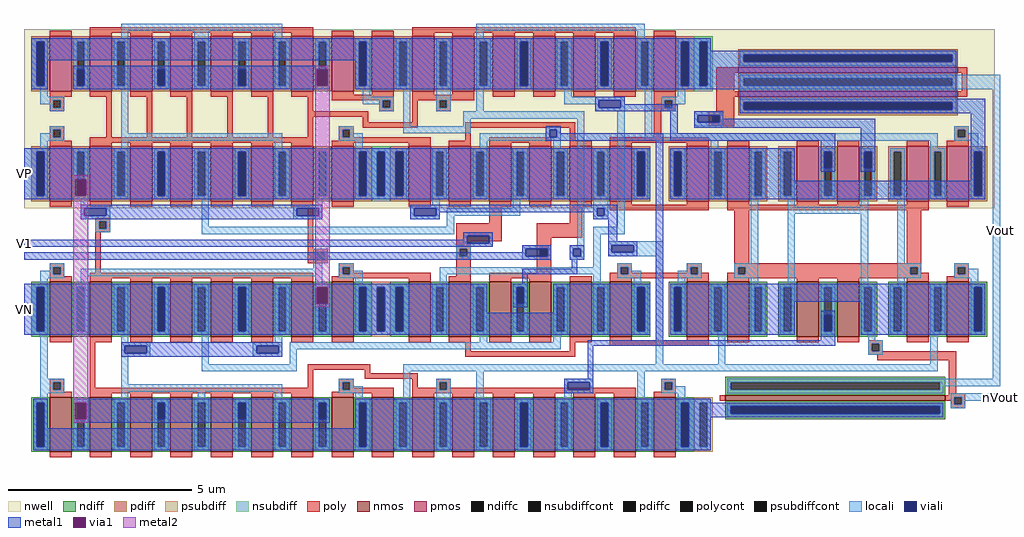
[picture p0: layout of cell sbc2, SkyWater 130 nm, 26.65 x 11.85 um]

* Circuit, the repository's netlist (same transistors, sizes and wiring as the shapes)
* SPICE3 file created from sbc2.ext - technology: sky130A


* Top level circuit sbc2

X0 a_2280_320# a_3680_n450# nVout VN sky130_fd_pr__nfet_01v8 ad=1.5e+12p pd=8e+06u as=1.5e+12p ps=8e+06u w=1.5e+06u l=600000u
X1 a_2060_n420# V1 a_760_n420# VN sky130_fd_pr__nfet_01v8 ad=1.5e+12p pd=8e+06u as=2.25e+12p ps=1.2e+07u w=1.5e+06u l=600000u
X2 a_1860_920# VP VP VP sky130_fd_pr__pfet_01v8 ad=3.75e+12p pd=2e+07u as=1.575e+13p ps=7.8e+07u w=1.5e+06u l=600000u
X3 a_320_320# a_100_n420# VP VP sky130_fd_pr__pfet_01v8 ad=3.75e+12p pd=2e+07u as=0p ps=0u w=1.5e+06u l=600000u
X4 VP VP a_100_320# VP sky130_fd_pr__pfet_01v8 ad=0p pd=0u as=1.5e+12p ps=8e+06u w=1.5e+06u l=600000u
X5 a_3680_n450# a_3680_n450# a_1860_920# VP sky130_fd_pr__pfet_01v8 ad=1.5e+12p pd=8e+06u as=0p ps=0u w=1.5e+06u l=600000u
X6 VP VP a_1860_n1050# VP sky130_fd_pr__pfet_01v8 ad=0p pd=0u as=1.5e+12p ps=8e+06u w=1.5e+06u l=600000u
X7 nVout a_3680_n450# a_2060_n420# VP sky130_fd_pr__pfet_01v8 ad=1.5e+12p pd=8e+06u as=1.5e+12p ps=8e+06u w=1.5e+06u l=600000u
X8 VP a_100_n420# a_2060_n420# VP sky130_fd_pr__pfet_01v8 ad=0p pd=0u as=0p ps=0u w=1.5e+06u l=600000u
X9 VN a_100_320# a_320_n1050# VN sky130_fd_pr__nfet_01v8 ad=1.275e+13p pd=6.5e+07u as=3.75e+12p ps=2e+07u w=1.5e+06u l=600000u
X10 a_320_n1050# a_100_320# VP VN sky130_fd_pr__nfet_01v8 ad=0p pd=0u as=4.5e+12p ps=2.4e+07u w=1.5e+06u l=600000u
X11 a_320_n1050# a_100_320# VP VN sky130_fd_pr__nfet_01v8 ad=0p pd=0u as=0p ps=0u w=1.5e+06u l=600000u
X12 VN a_100_320# a_1860_n1050# VN sky130_fd_pr__nfet_01v8 ad=0p pd=0u as=3.75e+12p ps=2e+07u w=1.5e+06u l=600000u
X13 nVout a_3680_n450# a_2280_320# VN sky130_fd_pr__nfet_01v8 ad=0p pd=0u as=0p ps=0u w=1.5e+06u l=600000u
X14 VN VN VP VN sky130_fd_pr__nfet_01v8 ad=0p pd=0u as=0p ps=0u w=1.5e+06u l=600000u
X15 a_320_320# a_100_n420# VN VP sky130_fd_pr__pfet_01v8 ad=0p pd=0u as=4.5e+12p ps=2.4e+07u w=1.5e+06u l=600000u
X16 VP a_100_n420# a_320_320# VP sky130_fd_pr__pfet_01v8 ad=0p pd=0u as=0p ps=0u w=1.5e+06u l=600000u
X17 a_100_n420# a_100_320# a_320_n1050# VN sky130_fd_pr__nfet_01v8 ad=1.5e+12p pd=8e+06u as=0p ps=0u w=1.5e+06u l=600000u
X18 Vout nVout VN VN sky130_fd_pr__nfet_01v8 ad=3e+12p pd=1.3e+07u as=0p ps=0u w=6e+06u l=150000u
X19 a_1860_n1050# a_3680_n450# a_3680_n450# VN sky130_fd_pr__nfet_01v8 ad=0p pd=0u as=1.5e+12p ps=8e+06u w=1.5e+06u l=600000u
X20 a_1860_n1050# VP VP VP sky130_fd_pr__pfet_01v8 ad=0p pd=0u as=0p ps=0u w=1.5e+06u l=600000u
X21 a_2060_n420# VN VN VN sky130_fd_pr__nfet_01v8 ad=0p pd=0u as=0p ps=0u w=1.5e+06u l=600000u
X22 a_320_320# a_100_n420# VN VP sky130_fd_pr__pfet_01v8 ad=0p pd=0u as=0p ps=0u w=1.5e+06u l=600000u
X23 VP VP VN VP sky130_fd_pr__pfet_01v8 ad=0p pd=0u as=0p ps=0u w=1.5e+06u l=600000u
X24 Vout nVout VP VP sky130_fd_pr__pfet_01v8 ad=3e+12p pd=1.3e+07u as=0p ps=0u w=6e+06u l=150000u
X25 a_1860_920# VP VP VP sky130_fd_pr__pfet_01v8 ad=0p pd=0u as=0p ps=0u w=1.5e+06u l=600000u
X26 a_760_n420# a_100_320# VN VN sky130_fd_pr__nfet_01v8 ad=0p pd=0u as=0p ps=0u w=1.5e+06u l=600000u
X27 a_320_n1050# a_100_320# VN VN sky130_fd_pr__nfet_01v8 ad=0p pd=0u as=0p ps=0u w=1.5e+06u l=600000u
X28 VP a_100_320# a_320_n1050# VN sky130_fd_pr__nfet_01v8 ad=0p pd=0u as=0p ps=0u w=1.5e+06u l=600000u
X29 a_100_320# a_100_n420# a_320_320# VP sky130_fd_pr__pfet_01v8 ad=0p pd=0u as=0p ps=0u w=1.5e+06u l=600000u
X30 a_2060_n420# a_3680_n450# nVout VP sky130_fd_pr__pfet_01v8 ad=0p pd=0u as=0p ps=0u w=1.5e+06u l=600000u
X31 VP a_100_320# a_320_n1050# VN sky130_fd_pr__nfet_01v8 ad=0p pd=0u as=0p ps=0u w=1.5e+06u l=600000u
X32 a_1860_920# a_100_n420# a_100_n420# VP sky130_fd_pr__pfet_01v8 ad=0p pd=0u as=7.5e+11p ps=4e+06u w=1.5e+06u l=600000u
X33 VP VP a_1860_920# VP sky130_fd_pr__pfet_01v8 ad=0p pd=0u as=0p ps=0u w=1.5e+06u l=600000u
X34 VN VN a_100_n420# VN sky130_fd_pr__nfet_01v8 ad=0p pd=0u as=0p ps=0u w=1.5e+06u l=600000u
X35 a_2060_n420# a_100_n420# VP VP sky130_fd_pr__pfet_01v8 ad=0p pd=0u as=0p ps=0u w=1.5e+06u l=600000u
X36 a_100_320# VP VP VP sky130_fd_pr__pfet_01v8 ad=0p pd=0u as=0p ps=0u w=1.5e+06u l=600000u
X37 VN VN a_1860_n1050# VN sky130_fd_pr__nfet_01v8 ad=0p pd=0u as=0p ps=0u w=1.5e+06u l=600000u
X38 VN a_100_n420# a_320_320# VP sky130_fd_pr__pfet_01v8 ad=0p pd=0u as=0p ps=0u w=1.5e+06u l=600000u
X39 VP VP a_1860_920# VP sky130_fd_pr__pfet_01v8 ad=0p pd=0u as=0p ps=0u w=1.5e+06u l=600000u
X40 a_320_320# a_100_n420# a_100_320# VP sky130_fd_pr__pfet_01v8 ad=0p pd=0u as=0p ps=0u w=1.5e+06u l=600000u
X41 VN a_100_320# a_760_n420# VN sky130_fd_pr__nfet_01v8 ad=0p pd=0u as=0p ps=0u w=1.5e+06u l=600000u
X42 a_1860_n1050# VN VN VN sky130_fd_pr__nfet_01v8 ad=0p pd=0u as=0p ps=0u w=1.5e+06u l=600000u
X43 a_320_n1050# a_100_320# VP VN sky130_fd_pr__nfet_01v8 ad=0p pd=0u as=0p ps=0u w=1.5e+06u l=600000u
X44 VP nVout Vout VP sky130_fd_pr__pfet_01v8 ad=0p pd=0u as=0p ps=0u w=6e+06u l=150000u
X45 VN a_100_n420# a_320_320# VP sky130_fd_pr__pfet_01v8 ad=0p pd=0u as=0p ps=0u w=1.5e+06u l=600000u
X46 VN VN a_2060_n420# VN sky130_fd_pr__nfet_01v8 ad=0p pd=0u as=0p ps=0u w=1.5e+06u l=600000u
X47 a_760_320# V1 a_2280_320# VP sky130_fd_pr__pfet_01v8 ad=1.5e+12p pd=8e+06u as=1.5e+12p ps=8e+06u w=1.5e+06u l=600000u
X48 a_1860_n1050# V2 a_2280_320# VP sky130_fd_pr__pfet_01v8 ad=0p pd=0u as=0p ps=0u w=1.5e+06u l=600000u
X49 VN VP VP VP sky130_fd_pr__pfet_01v8 ad=0p pd=0u as=0p ps=0u w=1.5e+06u l=600000u
X50 VP a_100_n420# a_1860_920# VP sky130_fd_pr__pfet_01v8 ad=0p pd=0u as=0p ps=0u w=1.5e+06u l=600000u
X51 a_1860_920# a_3680_n450# a_3680_n450# VP sky130_fd_pr__pfet_01v8 ad=0p pd=0u as=0p ps=0u w=1.5e+06u l=600000u
X52 a_3680_n450# a_3680_n450# a_1860_n1050# VN sky130_fd_pr__nfet_01v8 ad=0p pd=0u as=0p ps=0u w=1.5e+06u l=600000u
X53 a_320_320# a_100_n420# VN VP sky130_fd_pr__pfet_01v8 ad=0p pd=0u as=0p ps=0u w=1.5e+06u l=600000u
X54 a_1860_920# a_100_n420# VP VP sky130_fd_pr__pfet_01v8 ad=0p pd=0u as=0p ps=0u w=1.5e+06u l=600000u
X55 VP a_100_n420# a_760_320# VP sky130_fd_pr__pfet_01v8 ad=0p pd=0u as=0p ps=0u w=1.5e+06u l=600000u
X56 VN VN a_1860_n1050# VN sky130_fd_pr__nfet_01v8 ad=0p pd=0u as=0p ps=0u w=1.5e+06u l=600000u
X57 a_2280_320# V2 a_1860_n1050# VP sky130_fd_pr__pfet_01v8 ad=0p pd=0u as=0p ps=0u w=1.5e+06u l=600000u
X58 a_760_n420# V1 a_2060_n420# VN sky130_fd_pr__nfet_01v8 ad=0p pd=0u as=0p ps=0u w=1.5e+06u l=600000u
X59 a_100_n420# a_100_n420# a_1860_920# VP sky130_fd_pr__pfet_01v8 ad=0p pd=0u as=0p ps=0u w=1.5e+06u l=600000u
X60 a_2280_320# V1 a_760_320# VP sky130_fd_pr__pfet_01v8 ad=0p pd=0u as=0p ps=0u w=1.5e+06u l=600000u
X61 a_100_320# a_100_320# a_1860_n1050# VN sky130_fd_pr__nfet_01v8 ad=7.5e+11p pd=4e+06u as=0p ps=0u w=1.5e+06u l=600000u
X62 VN a_100_320# a_2280_320# VN sky130_fd_pr__nfet_01v8 ad=0p pd=0u as=0p ps=0u w=1.5e+06u l=600000u
X63 a_760_n420# V2 a_1860_920# VN sky130_fd_pr__nfet_01v8 ad=0p pd=0u as=7.5e+11p ps=4e+06u w=1.5e+06u l=600000u
X64 a_100_n420# VN VN VN sky130_fd_pr__nfet_01v8 ad=0p pd=0u as=0p ps=0u w=1.5e+06u l=600000u
X65 VN a_100_n420# a_320_320# VP sky130_fd_pr__pfet_01v8 ad=0p pd=0u as=0p ps=0u w=1.5e+06u l=600000u
X66 a_1860_920# V2 a_760_n420# VN sky130_fd_pr__nfet_01v8 ad=0p pd=0u as=0p ps=0u w=1.5e+06u l=600000u
X67 VP a_100_320# a_320_n1050# VN sky130_fd_pr__nfet_01v8 ad=0p pd=0u as=0p ps=0u w=1.5e+06u l=600000u
X68 a_1860_n1050# a_100_320# a_100_320# VN sky130_fd_pr__nfet_01v8 ad=0p pd=0u as=0p ps=0u w=1.5e+06u l=600000u
X69 a_1860_n1050# a_100_320# VN VN sky130_fd_pr__nfet_01v8 ad=0p pd=0u as=0p ps=0u w=1.5e+06u l=600000u
X70 a_760_320# a_100_n420# VP VP sky130_fd_pr__pfet_01v8 ad=0p pd=0u as=0p ps=0u w=1.5e+06u l=600000u
X71 a_320_n1050# a_100_320# a_100_n420# VN sky130_fd_pr__nfet_01v8 ad=0p pd=0u as=0p ps=0u w=1.5e+06u l=600000u
X72 VP VN VN VN sky130_fd_pr__nfet_01v8 ad=0p pd=0u as=0p ps=0u w=1.5e+06u l=600000u
X73 a_1860_n1050# VN VN VN sky130_fd_pr__nfet_01v8 ad=0p pd=0u as=0p ps=0u w=1.5e+06u l=600000u
X74 a_2280_320# a_100_320# VN VN sky130_fd_pr__nfet_01v8 ad=0p pd=0u as=0p ps=0u w=1.5e+06u l=600000u
.end

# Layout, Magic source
magic
tech sky130A
<< nwell >>
rect -80 140 2570 630
<< nmos >>
rect -10 -210 50 -60
rect 100 -210 160 -60
rect 210 -210 270 -60
rect 320 -210 380 -60
rect 430 -210 490 -60
rect 540 -210 600 -60
rect 650 -210 710 -60
rect 760 -210 820 -60
rect 970 -210 1030 -60
rect 1080 -210 1140 -60
rect 1190 -210 1250 -60
rect 1300 -210 1360 -60
rect 1410 -210 1470 -60
rect 1520 -210 1580 -60
rect 1730 -210 1790 -60
rect 1840 -210 1900 -60
rect 2030 -210 2090 -60
rect 2140 -210 2200 -60
rect 2330 -210 2390 -60
rect 2440 -210 2500 -60
rect -10 -525 50 -375
rect 100 -525 160 -375
rect 210 -525 270 -375
rect 320 -525 380 -375
rect 430 -525 490 -375
rect 540 -525 600 -375
rect 650 -525 710 -375
rect 760 -525 820 -375
rect 870 -525 930 -375
rect 980 -525 1040 -375
rect 1090 -525 1150 -375
rect 1200 -525 1260 -375
rect 1310 -525 1370 -375
rect 1420 -525 1480 -375
rect 1530 -525 1590 -375
rect 1640 -525 1700 -375
rect 1835 -385 2435 -370
<< pmos >>
rect -10 460 50 610
rect 100 460 160 610
rect 210 460 270 610
rect 320 460 380 610
rect 430 460 490 610
rect 540 460 600 610
rect 650 460 710 610
rect 760 460 820 610
rect 870 460 930 610
rect 980 460 1040 610
rect 1090 460 1150 610
rect 1200 460 1260 610
rect 1310 460 1370 610
rect 1420 460 1480 610
rect 1530 460 1590 610
rect 1640 460 1700 610
rect 1870 510 2470 525
rect 1870 445 2470 460
rect -10 160 50 310
rect 100 160 160 310
rect 210 160 270 310
rect 320 160 380 310
rect 430 160 490 310
rect 540 160 600 310
rect 650 160 710 310
rect 760 160 820 310
rect 970 160 1030 310
rect 1080 160 1140 310
rect 1190 160 1250 310
rect 1300 160 1360 310
rect 1410 160 1470 310
rect 1520 160 1580 310
rect 1730 160 1790 310
rect 1840 160 1900 310
rect 2030 160 2090 310
rect 2140 160 2200 310
rect 2330 160 2390 310
rect 2440 160 2500 310
<< ndiff >>
rect -60 -75 -10 -60
rect -60 -195 -45 -75
rect -25 -195 -10 -75
rect -60 -210 -10 -195
rect 50 -75 100 -60
rect 50 -195 65 -75
rect 85 -195 100 -75
rect 50 -210 100 -195
rect 160 -75 210 -60
rect 160 -195 175 -75
rect 195 -195 210 -75
rect 160 -210 210 -195
rect 270 -75 320 -60
rect 270 -195 285 -75
rect 305 -195 320 -75
rect 270 -210 320 -195
rect 380 -75 430 -60
rect 380 -195 395 -75
rect 415 -195 430 -75
rect 380 -210 430 -195
rect 490 -75 540 -60
rect 490 -195 505 -75
rect 525 -195 540 -75
rect 490 -210 540 -195
rect 600 -75 650 -60
rect 600 -195 615 -75
rect 635 -195 650 -75
rect 600 -210 650 -195
rect 710 -75 760 -60
rect 710 -195 725 -75
rect 745 -195 760 -75
rect 710 -210 760 -195
rect 820 -75 870 -60
rect 920 -75 970 -60
rect 820 -195 835 -75
rect 855 -195 870 -75
rect 920 -195 935 -75
rect 955 -195 970 -75
rect 820 -210 870 -195
rect 920 -210 970 -195
rect 1030 -75 1080 -60
rect 1030 -195 1045 -75
rect 1065 -195 1080 -75
rect 1030 -210 1080 -195
rect 1140 -75 1190 -60
rect 1140 -195 1155 -75
rect 1175 -195 1190 -75
rect 1140 -210 1190 -195
rect 1250 -75 1300 -60
rect 1250 -195 1265 -75
rect 1285 -195 1300 -75
rect 1250 -210 1300 -195
rect 1360 -75 1410 -60
rect 1360 -195 1375 -75
rect 1395 -195 1410 -75
rect 1360 -210 1410 -195
rect 1470 -75 1520 -60
rect 1470 -195 1485 -75
rect 1505 -195 1520 -75
rect 1470 -210 1520 -195
rect 1580 -75 1630 -60
rect 1580 -195 1595 -75
rect 1615 -195 1630 -75
rect 1580 -210 1630 -195
rect 1680 -75 1730 -60
rect 1680 -195 1695 -75
rect 1715 -195 1730 -75
rect 1680 -210 1730 -195
rect 1790 -75 1840 -60
rect 1790 -195 1805 -75
rect 1825 -195 1840 -75
rect 1790 -210 1840 -195
rect 1900 -75 1950 -60
rect 1900 -195 1915 -75
rect 1935 -195 1950 -75
rect 1900 -210 1950 -195
rect 1980 -75 2030 -60
rect 1980 -195 1995 -75
rect 2015 -195 2030 -75
rect 1980 -210 2030 -195
rect 2090 -75 2140 -60
rect 2090 -195 2105 -75
rect 2125 -195 2140 -75
rect 2090 -210 2140 -195
rect 2200 -75 2250 -60
rect 2200 -195 2215 -75
rect 2235 -195 2250 -75
rect 2200 -210 2250 -195
rect 2280 -75 2330 -60
rect 2280 -195 2295 -75
rect 2315 -195 2330 -75
rect 2280 -210 2330 -195
rect 2390 -75 2440 -60
rect 2390 -195 2405 -75
rect 2425 -195 2440 -75
rect 2390 -210 2440 -195
rect 2500 -75 2550 -60
rect 2500 -195 2515 -75
rect 2535 -195 2550 -75
rect 2500 -210 2550 -195
rect 1835 -335 2435 -320
rect 1835 -355 1850 -335
rect 2420 -355 2435 -335
rect 1835 -370 2435 -355
rect -60 -390 -10 -375
rect -60 -510 -45 -390
rect -25 -510 -10 -390
rect -60 -525 -10 -510
rect 50 -390 100 -375
rect 50 -510 65 -390
rect 85 -510 100 -390
rect 50 -525 100 -510
rect 160 -390 210 -375
rect 160 -510 175 -390
rect 195 -510 210 -390
rect 160 -525 210 -510
rect 270 -390 320 -375
rect 270 -510 285 -390
rect 305 -510 320 -390
rect 270 -525 320 -510
rect 380 -390 430 -375
rect 380 -510 395 -390
rect 415 -510 430 -390
rect 380 -525 430 -510
rect 490 -390 540 -375
rect 490 -510 505 -390
rect 525 -510 540 -390
rect 490 -525 540 -510
rect 600 -390 650 -375
rect 600 -510 615 -390
rect 635 -510 650 -390
rect 600 -525 650 -510
rect 710 -390 760 -375
rect 710 -510 725 -390
rect 745 -510 760 -390
rect 710 -525 760 -510
rect 820 -390 870 -375
rect 820 -510 835 -390
rect 855 -510 870 -390
rect 820 -525 870 -510
rect 930 -390 980 -375
rect 930 -510 945 -390
rect 965 -510 980 -390
rect 930 -525 980 -510
rect 1040 -390 1090 -375
rect 1040 -510 1055 -390
rect 1075 -510 1090 -390
rect 1040 -525 1090 -510
rect 1150 -390 1200 -375
rect 1150 -510 1165 -390
rect 1185 -510 1200 -390
rect 1150 -525 1200 -510
rect 1260 -390 1310 -375
rect 1260 -510 1275 -390
rect 1295 -510 1310 -390
rect 1260 -525 1310 -510
rect 1370 -390 1420 -375
rect 1370 -510 1385 -390
rect 1405 -510 1420 -390
rect 1370 -525 1420 -510
rect 1480 -390 1530 -375
rect 1480 -510 1495 -390
rect 1515 -510 1530 -390
rect 1480 -525 1530 -510
rect 1590 -390 1640 -375
rect 1590 -510 1605 -390
rect 1625 -510 1640 -390
rect 1590 -525 1640 -510
rect 1700 -390 1750 -375
rect 1700 -510 1715 -390
rect 1735 -510 1750 -390
rect 1835 -400 2435 -385
rect 1835 -420 1850 -400
rect 2420 -420 2435 -400
rect 1835 -435 2435 -420
rect 1700 -525 1750 -510
<< pdiff >>
rect -60 595 -10 610
rect -60 475 -45 595
rect -25 475 -10 595
rect -60 460 -10 475
rect 50 595 100 610
rect 50 475 65 595
rect 85 475 100 595
rect 50 460 100 475
rect 160 595 210 610
rect 160 475 175 595
rect 195 475 210 595
rect 160 460 210 475
rect 270 595 320 610
rect 270 475 285 595
rect 305 475 320 595
rect 270 460 320 475
rect 380 595 430 610
rect 380 475 395 595
rect 415 475 430 595
rect 380 460 430 475
rect 490 595 540 610
rect 490 475 505 595
rect 525 475 540 595
rect 490 460 540 475
rect 600 595 650 610
rect 600 475 615 595
rect 635 475 650 595
rect 600 460 650 475
rect 710 595 760 610
rect 710 475 725 595
rect 745 475 760 595
rect 710 460 760 475
rect 820 595 870 610
rect 820 475 835 595
rect 855 475 870 595
rect 820 460 870 475
rect 930 595 980 610
rect 930 475 945 595
rect 965 475 980 595
rect 930 460 980 475
rect 1040 595 1090 610
rect 1040 475 1055 595
rect 1075 475 1090 595
rect 1040 460 1090 475
rect 1150 595 1200 610
rect 1150 475 1165 595
rect 1185 475 1200 595
rect 1150 460 1200 475
rect 1260 595 1310 610
rect 1260 475 1275 595
rect 1295 475 1310 595
rect 1260 460 1310 475
rect 1370 595 1420 610
rect 1370 475 1385 595
rect 1405 475 1420 595
rect 1370 460 1420 475
rect 1480 595 1530 610
rect 1480 475 1495 595
rect 1515 475 1530 595
rect 1480 460 1530 475
rect 1590 595 1640 610
rect 1590 475 1605 595
rect 1625 475 1640 595
rect 1590 460 1640 475
rect 1700 595 1750 610
rect 1700 475 1715 595
rect 1735 475 1750 595
rect 1870 560 2470 575
rect 1870 540 1885 560
rect 2455 540 2470 560
rect 1870 525 2470 540
rect 1700 460 1750 475
rect 1870 495 2470 510
rect 1870 475 1885 495
rect 2455 475 2470 495
rect 1870 460 2470 475
rect 1870 430 2470 445
rect 1870 410 1885 430
rect 2455 410 2470 430
rect 1870 395 2470 410
rect -60 295 -10 310
rect -60 175 -45 295
rect -25 175 -10 295
rect -60 160 -10 175
rect 50 295 100 310
rect 50 175 65 295
rect 85 175 100 295
rect 50 160 100 175
rect 160 295 210 310
rect 160 175 175 295
rect 195 175 210 295
rect 160 160 210 175
rect 270 295 320 310
rect 270 175 285 295
rect 305 175 320 295
rect 270 160 320 175
rect 380 295 430 310
rect 380 175 395 295
rect 415 175 430 295
rect 380 160 430 175
rect 490 295 540 310
rect 490 175 505 295
rect 525 175 540 295
rect 490 160 540 175
rect 600 295 650 310
rect 600 175 615 295
rect 635 175 650 295
rect 600 160 650 175
rect 710 295 760 310
rect 710 175 725 295
rect 745 175 760 295
rect 710 160 760 175
rect 820 295 870 310
rect 920 295 970 310
rect 820 175 835 295
rect 855 175 870 295
rect 920 175 935 295
rect 955 175 970 295
rect 820 160 870 175
rect 920 160 970 175
rect 1030 295 1080 310
rect 1030 175 1045 295
rect 1065 175 1080 295
rect 1030 160 1080 175
rect 1140 295 1190 310
rect 1140 175 1155 295
rect 1175 175 1190 295
rect 1140 160 1190 175
rect 1250 295 1300 310
rect 1250 175 1265 295
rect 1285 175 1300 295
rect 1250 160 1300 175
rect 1360 295 1410 310
rect 1360 175 1375 295
rect 1395 175 1410 295
rect 1360 160 1410 175
rect 1470 295 1520 310
rect 1470 175 1485 295
rect 1505 175 1520 295
rect 1470 160 1520 175
rect 1580 295 1630 310
rect 1580 175 1595 295
rect 1615 175 1630 295
rect 1580 160 1630 175
rect 1680 295 1730 310
rect 1680 175 1695 295
rect 1715 175 1730 295
rect 1680 160 1730 175
rect 1790 295 1840 310
rect 1790 175 1805 295
rect 1825 175 1840 295
rect 1790 160 1840 175
rect 1900 295 1950 310
rect 1900 175 1915 295
rect 1935 175 1950 295
rect 1900 160 1950 175
rect 1980 295 2030 310
rect 1980 175 1995 295
rect 2015 175 2030 295
rect 1980 160 2030 175
rect 2090 295 2140 310
rect 2090 175 2105 295
rect 2125 175 2140 295
rect 2090 160 2140 175
rect 2200 295 2250 310
rect 2200 175 2215 295
rect 2235 175 2250 295
rect 2200 160 2250 175
rect 2280 295 2330 310
rect 2280 175 2295 295
rect 2315 175 2330 295
rect 2280 160 2330 175
rect 2390 295 2440 310
rect 2390 175 2405 295
rect 2425 175 2440 295
rect 2390 160 2440 175
rect 2500 295 2550 310
rect 2500 175 2515 295
rect 2535 175 2550 295
rect 2500 160 2550 175
<< ndiffc >>
rect -45 -195 -25 -75
rect 65 -195 85 -75
rect 175 -195 195 -75
rect 285 -195 305 -75
rect 395 -195 415 -75
rect 505 -195 525 -75
rect 615 -195 635 -75
rect 725 -195 745 -75
rect 835 -195 855 -75
rect 935 -195 955 -75
rect 1045 -195 1065 -75
rect 1155 -195 1175 -75
rect 1265 -195 1285 -75
rect 1375 -195 1395 -75
rect 1485 -195 1505 -75
rect 1595 -195 1615 -75
rect 1695 -195 1715 -75
rect 1805 -195 1825 -75
rect 1915 -195 1935 -75
rect 1995 -195 2015 -75
rect 2105 -195 2125 -75
rect 2215 -195 2235 -75
rect 2295 -195 2315 -75
rect 2405 -195 2425 -75
rect 2515 -195 2535 -75
rect 1850 -355 2420 -335
rect -45 -510 -25 -390
rect 65 -510 85 -390
rect 175 -510 195 -390
rect 285 -510 305 -390
rect 395 -510 415 -390
rect 505 -510 525 -390
rect 615 -510 635 -390
rect 725 -510 745 -390
rect 835 -510 855 -390
rect 945 -510 965 -390
rect 1055 -510 1075 -390
rect 1165 -510 1185 -390
rect 1275 -510 1295 -390
rect 1385 -510 1405 -390
rect 1495 -510 1515 -390
rect 1605 -510 1625 -390
rect 1715 -510 1735 -390
rect 1850 -420 2420 -400
<< pdiffc >>
rect -45 475 -25 595
rect 65 475 85 595
rect 175 475 195 595
rect 285 475 305 595
rect 395 475 415 595
rect 505 475 525 595
rect 615 475 635 595
rect 725 475 745 595
rect 835 475 855 595
rect 945 475 965 595
rect 1055 475 1075 595
rect 1165 475 1185 595
rect 1275 475 1295 595
rect 1385 475 1405 595
rect 1495 475 1515 595
rect 1605 475 1625 595
rect 1715 475 1735 595
rect 1885 540 2455 560
rect 1885 475 2455 495
rect 1885 410 2455 430
rect -45 175 -25 295
rect 65 175 85 295
rect 175 175 195 295
rect 285 175 305 295
rect 395 175 415 295
rect 505 175 525 295
rect 615 175 635 295
rect 725 175 745 295
rect 835 175 855 295
rect 935 175 955 295
rect 1045 175 1065 295
rect 1155 175 1175 295
rect 1265 175 1285 295
rect 1375 175 1395 295
rect 1485 175 1505 295
rect 1595 175 1615 295
rect 1695 175 1715 295
rect 1805 175 1825 295
rect 1915 175 1935 295
rect 1995 175 2015 295
rect 2105 175 2125 295
rect 2215 175 2235 295
rect 2295 175 2315 295
rect 2405 175 2425 295
rect 2515 175 2535 295
<< psubdiff >>
rect 870 -75 920 -60
rect 870 -195 885 -75
rect 905 -195 920 -75
rect 870 -210 920 -195
rect 1750 -390 1800 -375
rect 1750 -510 1765 -390
rect 1785 -510 1800 -390
rect 1750 -525 1800 -510
<< nsubdiff >>
rect 1750 595 1800 610
rect 1750 475 1765 595
rect 1785 475 1800 595
rect 1750 460 1800 475
rect 870 295 920 310
rect 870 175 885 295
rect 905 175 920 295
rect 870 160 920 175
<< psubdiffcont >>
rect 885 -195 905 -75
rect 1765 -510 1785 -390
<< nsubdiffcont >>
rect 1765 475 1785 595
rect 885 175 905 295
<< poly >>
rect -10 610 50 625
rect 100 620 710 635
rect 100 610 160 620
rect 210 610 270 620
rect 320 610 380 620
rect 430 610 490 620
rect 540 610 600 620
rect 650 610 710 620
rect 760 610 820 625
rect 870 610 930 625
rect 980 620 1590 635
rect 980 610 1040 620
rect 1090 610 1150 620
rect 1200 610 1260 620
rect 1310 610 1370 620
rect 1420 610 1480 620
rect 1530 610 1590 620
rect 1640 610 1700 625
rect 1810 510 1870 525
rect 2470 510 2495 525
rect 1810 460 1860 510
rect 2480 460 2495 510
rect -10 445 50 460
rect 100 445 160 460
rect 210 445 270 460
rect 320 445 380 460
rect 430 445 490 460
rect 540 445 600 460
rect 650 445 710 460
rect -10 435 30 445
rect -10 415 0 435
rect 20 415 30 435
rect -10 405 30 415
rect -10 355 30 365
rect -10 335 0 355
rect 20 335 30 355
rect 145 335 160 445
rect 255 335 270 445
rect 365 335 380 445
rect 475 335 490 445
rect 585 335 600 445
rect 695 405 710 445
rect 760 450 820 460
rect 870 450 930 460
rect 760 435 930 450
rect 890 415 900 435
rect 920 415 930 435
rect 890 405 930 415
rect 980 450 1040 460
rect 1090 450 1150 460
rect 980 435 1150 450
rect 1200 445 1260 460
rect 1310 445 1370 460
rect 1420 445 1480 460
rect 1530 445 1590 460
rect 1640 435 1700 460
rect 695 390 860 405
rect 695 335 710 390
rect 845 375 860 390
rect 980 375 995 435
rect 1045 415 1055 435
rect 1075 415 1085 435
rect 1045 405 1085 415
rect 1640 415 1670 435
rect 1690 415 1700 435
rect 1640 405 1700 415
rect 1810 445 1870 460
rect 2470 445 2495 460
rect 1810 405 1860 445
rect -10 325 30 335
rect -10 310 50 325
rect 100 320 710 335
rect 780 355 820 365
rect 845 360 995 375
rect 1125 360 1425 375
rect 780 335 790 355
rect 810 335 820 355
rect 780 325 1030 335
rect 1125 325 1140 360
rect 100 310 160 320
rect 210 310 270 320
rect 320 310 380 320
rect 430 310 490 320
rect 540 310 600 320
rect 650 310 710 320
rect 760 320 1030 325
rect 760 310 820 320
rect 970 310 1030 320
rect 1080 310 1140 325
rect 1190 320 1360 335
rect 1190 310 1250 320
rect 1300 310 1360 320
rect 1410 325 1425 360
rect 1640 335 1660 405
rect 1790 395 1860 405
rect 1790 375 1800 395
rect 1820 375 1860 395
rect 1790 365 1860 375
rect 2460 355 2500 365
rect 2460 335 2470 355
rect 2490 335 2500 355
rect 1410 310 1470 325
rect 1520 320 1790 335
rect 2460 325 2500 335
rect 1520 310 1580 320
rect 1730 310 1790 320
rect 1840 310 1900 325
rect 2030 310 2090 325
rect 2140 310 2200 325
rect 2330 310 2390 325
rect 2440 310 2500 325
rect -10 145 50 160
rect 100 145 160 160
rect 210 145 270 160
rect 320 145 380 160
rect 430 145 490 160
rect 540 145 600 160
rect 650 145 710 160
rect 760 145 820 160
rect 970 145 1030 160
rect 1080 145 1140 160
rect 1190 145 1250 160
rect 1300 145 1360 160
rect 1410 145 1470 160
rect 1520 150 1580 160
rect 1730 150 1790 160
rect 115 105 155 115
rect 115 85 125 105
rect 145 85 155 105
rect 115 75 155 85
rect -10 -20 30 -10
rect -10 -40 0 -20
rect 20 -40 30 -20
rect 115 -35 130 75
rect 695 30 710 145
rect 1190 100 1225 145
rect 1410 100 1445 145
rect 1520 135 1790 150
rect 1840 150 1900 160
rect 2030 150 2090 160
rect 2140 150 2200 160
rect 2330 150 2390 160
rect 1840 135 2390 150
rect 2440 145 2500 160
rect 1100 50 1225 100
rect 1320 60 1445 100
rect 1100 30 1140 50
rect 695 20 750 30
rect 695 0 720 20
rect 740 0 750 20
rect 695 -10 750 0
rect 1100 10 1110 30
rect 1130 10 1140 30
rect 780 -20 820 -10
rect -10 -45 30 -40
rect -10 -60 50 -45
rect 100 -50 710 -35
rect 780 -40 790 -20
rect 810 -35 820 -20
rect 810 -40 1030 -35
rect 780 -45 1030 -40
rect 1100 -45 1140 10
rect 1320 30 1360 60
rect 1320 10 1330 30
rect 1350 10 1360 30
rect 1320 -35 1360 10
rect 1860 -10 1900 135
rect 2330 -10 2370 135
rect 1540 -20 1580 -10
rect 1540 -35 1550 -20
rect 100 -60 160 -50
rect 210 -60 270 -50
rect 320 -60 380 -50
rect 430 -60 490 -50
rect 540 -60 600 -50
rect 650 -60 710 -50
rect 760 -50 1030 -45
rect 760 -60 820 -50
rect 970 -60 1030 -50
rect 1080 -60 1140 -45
rect 1190 -50 1360 -35
rect 1520 -40 1550 -35
rect 1570 -35 1580 -20
rect 1730 -20 1770 -10
rect 1730 -35 1740 -20
rect 1570 -40 1740 -35
rect 1760 -35 1770 -20
rect 1860 -20 2370 -10
rect 1860 -35 1870 -20
rect 1760 -40 1790 -35
rect 1190 -60 1250 -50
rect 1300 -60 1360 -50
rect 1410 -60 1470 -45
rect 1520 -50 1790 -40
rect 1520 -60 1580 -50
rect 1730 -60 1790 -50
rect 1840 -40 1870 -35
rect 1890 -40 2340 -20
rect 2360 -35 2370 -20
rect 2460 -20 2500 -10
rect 2360 -40 2390 -35
rect 1840 -50 2390 -40
rect 2460 -40 2470 -20
rect 2490 -40 2500 -20
rect 2460 -45 2500 -40
rect 1840 -60 1900 -50
rect 2030 -60 2090 -50
rect 2140 -60 2200 -50
rect 2330 -60 2390 -50
rect 2440 -60 2500 -45
rect -10 -225 50 -210
rect 100 -225 160 -210
rect 210 -225 270 -210
rect 320 -225 380 -210
rect 430 -225 490 -210
rect 540 -225 600 -210
rect 650 -225 710 -210
rect 760 -225 820 -210
rect 970 -225 1030 -210
rect 1080 -225 1140 -210
rect 1190 -225 1250 -210
rect 1300 -225 1360 -210
rect 1410 -225 1470 -210
rect 1520 -220 1580 -210
rect 1730 -220 1790 -210
rect -10 -335 30 -325
rect -10 -355 0 -335
rect 20 -355 30 -335
rect -10 -360 30 -355
rect 100 -350 115 -225
rect 1125 -250 1140 -225
rect 1410 -250 1425 -225
rect 1520 -235 1790 -220
rect 1840 -225 1900 -210
rect 2030 -225 2090 -210
rect 2140 -225 2200 -210
rect 2225 -230 2265 -220
rect 2330 -225 2390 -210
rect 2440 -225 2500 -210
rect 1125 -265 1425 -250
rect 2225 -250 2235 -230
rect 2255 -250 2265 -230
rect 2225 -260 2465 -250
rect 2250 -275 2465 -260
rect 695 -300 865 -285
rect 695 -350 710 -300
rect 850 -310 865 -300
rect 850 -325 995 -310
rect -10 -375 50 -360
rect 100 -365 710 -350
rect 780 -335 820 -325
rect 780 -355 790 -335
rect 810 -350 820 -335
rect 980 -350 995 -325
rect 1045 -335 1085 -325
rect 1045 -350 1055 -335
rect 810 -355 930 -350
rect 780 -360 930 -355
rect 100 -375 160 -365
rect 210 -375 270 -365
rect 320 -375 380 -365
rect 430 -375 490 -365
rect 540 -375 600 -365
rect 650 -375 710 -365
rect 760 -365 930 -360
rect 760 -375 820 -365
rect 870 -375 930 -365
rect 980 -355 1055 -350
rect 1075 -350 1085 -335
rect 1660 -335 1700 -325
rect 1075 -355 1590 -350
rect 980 -365 1590 -355
rect 1660 -355 1670 -335
rect 1690 -355 1700 -335
rect 1660 -360 1700 -355
rect 980 -375 1040 -365
rect 1090 -375 1150 -365
rect 1200 -375 1260 -365
rect 1310 -375 1370 -365
rect 1420 -375 1480 -365
rect 1530 -375 1590 -365
rect 1640 -375 1700 -360
rect 2445 -365 2465 -275
rect 2445 -370 2490 -365
rect 1820 -385 1835 -370
rect 2435 -375 2490 -370
rect 2435 -385 2460 -375
rect 2450 -395 2460 -385
rect 2480 -395 2490 -375
rect 2450 -405 2490 -395
rect -10 -540 50 -525
rect 100 -540 160 -525
rect 210 -540 270 -525
rect 320 -540 380 -525
rect 430 -540 490 -525
rect 540 -540 600 -525
rect 650 -540 710 -525
rect 760 -540 820 -525
rect 870 -540 930 -525
rect 980 -540 1040 -525
rect 1090 -540 1150 -525
rect 1200 -540 1260 -525
rect 1310 -540 1370 -525
rect 1420 -540 1480 -525
rect 1530 -540 1590 -525
rect 1640 -540 1700 -525
<< polycont >>
rect 0 415 20 435
rect 0 335 20 355
rect 900 415 920 435
rect 1055 415 1075 435
rect 1670 415 1690 435
rect 790 335 810 355
rect 1800 375 1820 395
rect 2470 335 2490 355
rect 125 85 145 105
rect 0 -40 20 -20
rect 720 0 740 20
rect 1110 10 1130 30
rect 790 -40 810 -20
rect 1330 10 1350 30
rect 1550 -40 1570 -20
rect 1740 -40 1760 -20
rect 1870 -40 1890 -20
rect 2340 -40 2360 -20
rect 2470 -40 2490 -20
rect 0 -355 20 -335
rect 2235 -250 2255 -230
rect 790 -355 810 -335
rect 1055 -355 1075 -335
rect 1670 -355 1690 -335
rect 2460 -395 2480 -375
<< locali >>
rect 185 625 625 645
rect 185 605 205 625
rect -60 595 -15 605
rect -60 475 -45 595
rect -25 475 -15 595
rect -60 465 -15 475
rect 55 595 95 605
rect 55 475 65 595
rect 85 475 95 595
rect 55 465 95 475
rect 165 595 205 605
rect 165 475 175 595
rect 195 475 205 595
rect 165 465 205 475
rect 275 595 315 605
rect 275 475 285 595
rect 305 475 315 595
rect 275 465 315 475
rect 385 595 425 625
rect 605 605 625 625
rect 1155 625 1615 645
rect 1155 605 1175 625
rect 1595 605 1615 625
rect 385 475 395 595
rect 415 475 425 595
rect 385 465 425 475
rect 495 595 535 605
rect 495 475 505 595
rect 525 475 535 595
rect 495 465 535 475
rect 605 595 645 605
rect 605 475 615 595
rect 635 475 645 595
rect 605 465 645 475
rect 715 595 755 605
rect 715 475 725 595
rect 745 475 755 595
rect 715 465 755 475
rect 825 595 865 605
rect 825 475 835 595
rect 855 475 865 595
rect 825 465 865 475
rect 935 595 975 605
rect 935 475 945 595
rect 965 475 975 595
rect 935 465 975 475
rect -35 445 -15 465
rect -35 435 30 445
rect -35 425 0 435
rect -10 415 0 425
rect 20 415 30 435
rect -10 405 30 415
rect -10 355 30 365
rect -10 345 0 355
rect -35 335 0 345
rect 20 335 30 355
rect -35 325 30 335
rect 185 345 205 465
rect 845 445 865 465
rect 845 435 930 445
rect 845 425 900 435
rect 890 415 900 425
rect 920 415 930 435
rect 890 405 930 415
rect 955 365 975 465
rect 1045 595 1085 605
rect 1045 475 1055 595
rect 1075 475 1085 595
rect 1045 435 1085 475
rect 1045 415 1055 435
rect 1075 415 1085 435
rect 1045 405 1085 415
rect 1155 595 1195 605
rect 1155 475 1165 595
rect 1185 475 1195 595
rect 1155 465 1195 475
rect 1265 595 1305 605
rect 1265 475 1275 595
rect 1295 475 1305 595
rect 1265 465 1305 475
rect 1375 595 1415 605
rect 1375 475 1385 595
rect 1405 475 1415 595
rect 1375 465 1415 475
rect 1485 595 1525 605
rect 1485 475 1495 595
rect 1515 475 1525 595
rect 1485 465 1525 475
rect 1595 595 1635 605
rect 1595 475 1605 595
rect 1625 475 1635 595
rect 1595 465 1635 475
rect 1155 405 1175 465
rect 1395 445 1415 465
rect 1395 435 1560 445
rect 1395 425 1490 435
rect 1480 415 1490 425
rect 1550 415 1560 435
rect 1480 405 1560 415
rect 1120 385 1450 405
rect 1120 365 1140 385
rect 780 355 820 365
rect 185 325 625 345
rect 780 335 790 355
rect 810 345 820 355
rect 955 345 1140 365
rect 1345 355 1385 365
rect 1345 345 1355 355
rect 810 335 845 345
rect 780 325 845 335
rect -35 305 -15 325
rect 185 305 205 325
rect 605 305 625 325
rect 825 305 845 325
rect 1165 335 1355 345
rect 1375 335 1385 355
rect 1165 325 1385 335
rect 1165 305 1185 325
rect 1365 305 1385 325
rect -60 295 -15 305
rect -60 175 -45 295
rect -25 175 -15 295
rect -60 165 -15 175
rect 55 295 95 305
rect 55 175 65 295
rect 85 175 95 295
rect 55 165 95 175
rect 165 295 205 305
rect 165 175 175 295
rect 195 175 205 295
rect 165 165 205 175
rect 275 295 315 305
rect 275 175 285 295
rect 305 175 315 295
rect 275 165 315 175
rect 385 295 425 305
rect 385 175 395 295
rect 415 175 425 295
rect 385 165 425 175
rect 495 295 535 305
rect 495 175 505 295
rect 525 175 535 295
rect 495 165 535 175
rect 605 295 645 305
rect 605 175 615 295
rect 635 175 645 295
rect 605 165 645 175
rect 715 295 755 305
rect 715 175 725 295
rect 745 175 755 295
rect 715 165 755 175
rect 825 295 965 305
rect 825 175 835 295
rect 855 175 885 295
rect 905 175 935 295
rect 955 175 965 295
rect 825 165 965 175
rect 1035 295 1075 305
rect 1035 175 1045 295
rect 1065 175 1075 295
rect 1035 165 1075 175
rect 1145 295 1185 305
rect 1145 175 1155 295
rect 1175 175 1185 295
rect 1145 165 1185 175
rect 1255 295 1295 305
rect 1255 175 1265 295
rect 1285 175 1295 295
rect 1255 165 1295 175
rect 1365 295 1405 305
rect 1365 175 1375 295
rect 1395 175 1405 295
rect 1365 165 1405 175
rect 75 150 95 165
rect 75 140 155 150
rect 75 120 85 140
rect 145 120 155 140
rect 75 110 155 120
rect 115 105 155 110
rect 115 85 125 105
rect 145 85 155 105
rect 115 75 155 85
rect 405 90 425 165
rect 715 150 735 165
rect 1035 150 1055 165
rect 655 140 735 150
rect 655 120 665 140
rect 725 120 735 140
rect 655 110 735 120
rect 975 140 1055 150
rect 1255 140 1275 165
rect 975 120 985 140
rect 1045 120 1055 140
rect 975 110 1055 120
rect 1075 120 1275 140
rect 1075 90 1095 120
rect 405 70 1095 90
rect 1120 65 1200 75
rect 1120 45 1130 65
rect 1190 45 1200 65
rect 1120 40 1200 45
rect 1430 40 1450 385
rect 1475 295 1515 305
rect 1475 175 1485 295
rect 1505 175 1515 295
rect 1475 140 1515 175
rect 1475 120 1485 140
rect 1505 120 1515 140
rect 1475 110 1515 120
rect 1540 90 1560 405
rect 1615 345 1635 465
rect 1705 595 1795 605
rect 1705 475 1715 595
rect 1735 475 1765 595
rect 1785 475 1795 595
rect 1875 560 2465 570
rect 1875 540 1885 560
rect 2455 540 2465 560
rect 1875 530 2465 540
rect 1705 465 1795 475
rect 1875 495 2585 505
rect 1875 475 1885 495
rect 2455 475 2585 495
rect 1875 465 2585 475
rect 1705 445 1725 465
rect 1660 435 1725 445
rect 1660 415 1670 435
rect 1690 425 1725 435
rect 1875 430 2465 440
rect 1690 415 1700 425
rect 1660 405 1700 415
rect 1875 410 1885 430
rect 2455 410 2465 430
rect 1750 395 1830 405
rect 1875 400 2465 410
rect 1750 375 1760 395
rect 1820 375 1830 395
rect 1750 365 1830 375
rect 2460 355 2500 365
rect 1615 325 2415 345
rect 2460 335 2470 355
rect 2490 345 2500 355
rect 2490 335 2525 345
rect 2460 325 2525 335
rect 1795 305 1815 325
rect 2395 305 2415 325
rect 2505 305 2525 325
rect 1585 295 1625 305
rect 1585 175 1595 295
rect 1615 175 1625 295
rect 1585 165 1625 175
rect 1685 295 1725 305
rect 1685 175 1695 295
rect 1715 175 1725 295
rect 1685 165 1725 175
rect 1795 295 1835 305
rect 1795 175 1805 295
rect 1825 175 1835 295
rect 1795 165 1835 175
rect 1905 295 1945 305
rect 1905 175 1915 295
rect 1935 175 1945 295
rect 1905 165 1945 175
rect 1985 295 2025 305
rect 1985 175 1995 295
rect 2015 175 2025 295
rect 1985 165 2025 175
rect 2095 295 2135 305
rect 2095 175 2105 295
rect 2125 175 2135 295
rect 2095 165 2135 175
rect 2205 295 2245 305
rect 2205 175 2215 295
rect 2235 175 2245 295
rect 2205 165 2245 175
rect 2285 295 2325 305
rect 2285 175 2295 295
rect 2315 175 2325 295
rect 2285 165 2325 175
rect 2395 295 2435 305
rect 2395 175 2405 295
rect 2425 175 2435 295
rect 2395 165 2435 175
rect 2505 295 2545 305
rect 2505 175 2515 295
rect 2535 175 2545 295
rect 2505 165 2545 175
rect 1100 35 1200 40
rect 1100 30 1140 35
rect 710 20 750 30
rect 710 0 720 20
rect 740 0 750 20
rect 1100 10 1110 30
rect 1130 10 1140 30
rect 1100 0 1140 10
rect 1280 30 1360 40
rect 1280 10 1290 30
rect 1350 10 1360 30
rect 1280 0 1360 10
rect 1410 30 1450 40
rect 1410 10 1420 30
rect 1440 10 1450 30
rect 1410 0 1450 10
rect 1475 70 1560 90
rect 710 -10 750 0
rect -10 -20 30 -10
rect -10 -30 0 -20
rect -35 -40 0 -30
rect 20 -40 30 -20
rect 710 -25 735 -10
rect -35 -50 30 -40
rect 75 -45 735 -25
rect -35 -65 -15 -50
rect 75 -65 95 -45
rect 715 -65 735 -45
rect 780 -20 820 -10
rect 1475 -20 1495 70
rect 1515 40 1665 50
rect 1515 20 1525 40
rect 1585 20 1665 40
rect 1515 10 1665 20
rect 780 -40 790 -20
rect 810 -30 820 -20
rect 810 -40 845 -30
rect 780 -50 845 -40
rect 825 -65 845 -50
rect 1055 -40 1495 -20
rect 1055 -65 1075 -40
rect 1475 -65 1495 -40
rect 1540 -20 1580 -10
rect 1540 -40 1550 -20
rect 1570 -30 1580 -20
rect 1570 -40 1605 -30
rect 1540 -50 1605 -40
rect 1585 -65 1605 -50
rect -60 -75 -15 -65
rect -60 -195 -45 -75
rect -25 -195 -15 -75
rect -60 -205 -15 -195
rect 55 -75 95 -65
rect 55 -195 65 -75
rect 85 -195 95 -75
rect 55 -205 95 -195
rect 165 -75 205 -65
rect 165 -195 175 -75
rect 195 -195 205 -75
rect 165 -205 205 -195
rect 275 -75 315 -65
rect 275 -195 285 -75
rect 305 -195 315 -75
rect 275 -205 315 -195
rect 385 -75 425 -65
rect 385 -195 395 -75
rect 415 -195 425 -75
rect 385 -205 425 -195
rect 495 -75 535 -65
rect 495 -195 505 -75
rect 525 -195 535 -75
rect 495 -205 535 -195
rect 605 -75 645 -65
rect 605 -195 615 -75
rect 635 -195 645 -75
rect 605 -205 645 -195
rect 715 -75 755 -65
rect 715 -195 725 -75
rect 745 -195 755 -75
rect 715 -205 755 -195
rect 825 -75 970 -65
rect 825 -195 835 -75
rect 855 -195 885 -75
rect 905 -195 935 -75
rect 955 -195 970 -75
rect 825 -205 970 -195
rect 1035 -75 1075 -65
rect 1035 -195 1045 -75
rect 1065 -195 1075 -75
rect 1035 -205 1075 -195
rect 1145 -75 1185 -65
rect 1145 -195 1155 -75
rect 1175 -195 1185 -75
rect 1145 -205 1185 -195
rect 1255 -75 1295 -65
rect 1255 -195 1265 -75
rect 1285 -195 1295 -75
rect 1255 -205 1295 -195
rect 1365 -75 1405 -65
rect 1365 -195 1375 -75
rect 1395 -195 1405 -75
rect 1365 -205 1405 -195
rect 1475 -75 1515 -65
rect 1475 -195 1485 -75
rect 1505 -195 1515 -75
rect 1475 -205 1515 -195
rect 1585 -75 1625 -65
rect 1585 -195 1595 -75
rect 1615 -195 1625 -75
rect 1585 -205 1625 -195
rect -35 -325 -15 -205
rect 185 -225 205 -205
rect 185 -235 265 -225
rect 185 -255 195 -235
rect 255 -255 265 -235
rect 185 -265 265 -255
rect -35 -335 30 -325
rect -35 -355 0 -335
rect 20 -355 30 -335
rect -35 -365 30 -355
rect 185 -340 205 -265
rect 405 -285 425 -205
rect 605 -225 625 -205
rect 1165 -225 1185 -205
rect 1365 -225 1385 -205
rect 545 -235 625 -225
rect 545 -255 555 -235
rect 615 -255 625 -235
rect 545 -265 625 -255
rect 645 -245 1385 -225
rect 645 -285 665 -245
rect 1645 -285 1665 10
rect 1905 -10 1925 165
rect 1730 -20 1770 -10
rect 1730 -30 1740 -20
rect 1705 -40 1740 -30
rect 1760 -40 1770 -20
rect 1705 -50 1770 -40
rect 1860 -20 1925 -10
rect 1860 -40 1870 -20
rect 1890 -40 1925 -20
rect 1860 -50 1925 -40
rect 1705 -65 1725 -50
rect 1905 -65 1925 -50
rect 2005 145 2025 165
rect 2205 145 2225 165
rect 2005 125 2225 145
rect 2005 -65 2025 125
rect 2205 -65 2225 125
rect 2305 -10 2325 165
rect 2305 -20 2370 -10
rect 2305 -40 2340 -20
rect 2360 -40 2370 -20
rect 2305 -50 2370 -40
rect 2460 -20 2500 -10
rect 2460 -40 2470 -20
rect 2490 -25 2500 -20
rect 2490 -40 2525 -25
rect 2460 -50 2525 -40
rect 2305 -65 2325 -50
rect 2505 -65 2525 -50
rect 1685 -75 1725 -65
rect 1685 -195 1695 -75
rect 1715 -195 1725 -75
rect 1685 -205 1725 -195
rect 1795 -75 1835 -65
rect 1795 -195 1805 -75
rect 1825 -195 1835 -75
rect 1795 -205 1835 -195
rect 1905 -75 1945 -65
rect 1905 -195 1915 -75
rect 1935 -195 1945 -75
rect 1905 -205 1945 -195
rect 1985 -75 2025 -65
rect 1985 -195 1995 -75
rect 2015 -195 2025 -75
rect 1985 -205 2025 -195
rect 2095 -75 2135 -65
rect 2095 -195 2105 -75
rect 2125 -195 2135 -75
rect 2095 -205 2135 -195
rect 2205 -75 2245 -65
rect 2205 -195 2215 -75
rect 2235 -195 2245 -75
rect 2205 -205 2245 -195
rect 2285 -75 2325 -65
rect 2285 -195 2295 -75
rect 2315 -195 2325 -75
rect 2285 -205 2325 -195
rect 2395 -75 2435 -65
rect 2395 -195 2405 -75
rect 2425 -195 2435 -75
rect 2395 -205 2435 -195
rect 2505 -75 2545 -65
rect 2505 -195 2515 -75
rect 2535 -195 2545 -75
rect 2505 -205 2545 -195
rect 1815 -285 1835 -205
rect 2225 -220 2245 -205
rect 2225 -230 2265 -220
rect 2225 -250 2235 -230
rect 2255 -250 2265 -230
rect 2225 -260 2265 -250
rect 2395 -285 2415 -205
rect 405 -305 665 -285
rect 955 -305 2415 -285
rect 780 -335 820 -325
rect 185 -360 625 -340
rect -35 -380 -15 -365
rect 185 -380 205 -360
rect 395 -380 415 -360
rect 605 -380 625 -360
rect 780 -355 790 -335
rect 810 -345 820 -335
rect 810 -355 845 -345
rect 780 -365 845 -355
rect 825 -380 845 -365
rect 955 -380 975 -305
rect -55 -390 -15 -380
rect -55 -510 -45 -390
rect -25 -510 -15 -390
rect -55 -520 -15 -510
rect 55 -390 95 -380
rect 55 -510 65 -390
rect 85 -510 95 -390
rect 55 -520 95 -510
rect 165 -390 205 -380
rect 165 -510 175 -390
rect 195 -510 205 -390
rect 165 -520 205 -510
rect 275 -390 315 -380
rect 275 -510 285 -390
rect 305 -510 315 -390
rect 275 -520 315 -510
rect 385 -390 425 -380
rect 385 -510 395 -390
rect 415 -510 425 -390
rect 385 -520 425 -510
rect 495 -390 535 -380
rect 495 -510 505 -390
rect 525 -510 535 -390
rect 495 -520 535 -510
rect 605 -390 645 -380
rect 605 -510 615 -390
rect 635 -510 645 -390
rect 605 -520 645 -510
rect 715 -390 755 -380
rect 715 -510 725 -390
rect 745 -510 755 -390
rect 715 -520 755 -510
rect 825 -390 865 -380
rect 825 -510 835 -390
rect 855 -510 865 -390
rect 825 -520 865 -510
rect 935 -390 975 -380
rect 935 -510 945 -390
rect 965 -510 975 -390
rect 935 -520 975 -510
rect 1045 -335 1085 -325
rect 1045 -355 1055 -335
rect 1075 -355 1085 -335
rect 1045 -390 1085 -355
rect 1045 -510 1055 -390
rect 1075 -510 1085 -390
rect 1045 -520 1085 -510
rect 1155 -380 1175 -305
rect 1395 -335 1475 -325
rect 1395 -355 1405 -335
rect 1465 -355 1475 -335
rect 1395 -365 1475 -355
rect 1395 -380 1415 -365
rect 1595 -380 1615 -305
rect 2565 -325 2585 465
rect 1660 -335 1700 -325
rect 1660 -355 1670 -335
rect 1690 -345 1700 -335
rect 1840 -335 2585 -325
rect 1690 -355 1725 -345
rect 1660 -365 1725 -355
rect 1840 -355 1850 -335
rect 2420 -345 2585 -335
rect 2420 -355 2430 -345
rect 1840 -365 2430 -355
rect 1705 -380 1725 -365
rect 2450 -375 2585 -365
rect 1155 -390 1195 -380
rect 1155 -510 1165 -390
rect 1185 -510 1195 -390
rect 1155 -520 1195 -510
rect 1265 -390 1305 -380
rect 1265 -510 1275 -390
rect 1295 -510 1305 -390
rect 1265 -520 1305 -510
rect 1375 -390 1415 -380
rect 1375 -510 1385 -390
rect 1405 -510 1415 -390
rect 1375 -520 1415 -510
rect 1485 -390 1525 -380
rect 1485 -510 1495 -390
rect 1515 -510 1525 -390
rect 1485 -520 1525 -510
rect 1595 -390 1635 -380
rect 1595 -510 1605 -390
rect 1625 -510 1635 -390
rect 1595 -520 1635 -510
rect 1705 -390 1795 -380
rect 1705 -510 1715 -390
rect 1735 -510 1765 -390
rect 1785 -510 1795 -390
rect 1840 -400 2430 -390
rect 1840 -420 1850 -400
rect 2420 -420 2430 -400
rect 2450 -395 2460 -375
rect 2480 -385 2585 -375
rect 2480 -395 2490 -385
rect 2450 -405 2490 -395
rect 1840 -430 2430 -420
rect 1705 -520 1795 -510
<< viali >>
rect -45 475 -25 595
rect 65 475 85 520
rect 285 475 305 520
rect 505 475 525 520
rect 725 475 745 520
rect 835 475 855 595
rect 1275 475 1295 595
rect 1495 475 1515 595
rect 1490 415 1550 435
rect 1355 335 1375 355
rect -45 175 -25 295
rect 285 175 305 295
rect 505 175 525 295
rect 835 175 855 295
rect 885 175 905 295
rect 935 175 955 295
rect 85 120 145 140
rect 665 120 725 140
rect 985 120 1045 140
rect 1130 45 1190 65
rect 1485 120 1505 140
rect 1715 475 1735 595
rect 1765 475 1785 595
rect 1885 540 2455 560
rect 1885 410 2455 430
rect 1760 375 1800 395
rect 1800 375 1820 395
rect 1595 175 1615 295
rect 1695 175 1715 295
rect 2105 250 2125 295
rect 2215 250 2235 295
rect 2515 175 2535 295
rect 1290 10 1330 30
rect 1330 10 1350 30
rect 1420 10 1440 30
rect 1525 20 1585 40
rect -45 -195 -25 -75
rect 285 -195 305 -75
rect 505 -195 525 -75
rect 835 -195 855 -75
rect 885 -195 905 -75
rect 935 -195 955 -75
rect 1265 -120 1285 -75
rect 1595 -195 1615 -75
rect 195 -255 255 -235
rect 555 -255 615 -235
rect 1695 -195 1715 -75
rect 2105 -195 2125 -150
rect 2515 -195 2535 -75
rect -45 -510 -25 -390
rect 65 -435 85 -390
rect 285 -435 305 -390
rect 505 -435 525 -390
rect 725 -435 745 -390
rect 835 -510 855 -390
rect 1405 -355 1465 -335
rect 1275 -510 1295 -390
rect 1495 -510 1515 -390
rect 1715 -510 1735 -390
rect 1850 -420 2420 -400
<< metal1 >>
rect -60 595 1795 605
rect -60 475 -45 595
rect -25 545 835 595
rect -25 475 -15 545
rect -60 465 -15 475
rect 55 520 755 530
rect 55 475 65 520
rect 85 475 285 520
rect 305 475 505 520
rect 525 475 720 520
rect 750 475 755 520
rect 55 465 755 475
rect 825 475 835 545
rect 855 475 1275 595
rect 1295 475 1495 595
rect 1515 475 1715 595
rect 1735 475 1765 595
rect 1785 570 1795 595
rect 1785 560 2465 570
rect 1785 540 1885 560
rect 2455 540 2465 560
rect 1785 475 2465 540
rect 825 465 2465 475
rect 1480 435 1560 445
rect 1480 415 1490 435
rect 1550 425 1560 435
rect 1875 440 2465 465
rect 1875 430 2545 440
rect 1550 415 1705 425
rect 1480 405 1705 415
rect 1875 410 1885 430
rect 2455 410 2545 430
rect 1345 355 1385 365
rect 1345 335 1355 355
rect 1375 345 1385 355
rect 1685 345 1705 405
rect 1750 395 1830 405
rect 1875 400 2545 410
rect 1750 375 1760 395
rect 1820 385 1830 395
rect 1820 375 2245 385
rect 1750 360 2245 375
rect 1375 335 1665 345
rect 1345 325 1665 335
rect 1685 325 2135 345
rect -80 295 1630 305
rect -80 175 -45 295
rect -25 220 285 295
rect -25 175 60 220
rect 90 175 285 220
rect 305 175 505 295
rect 525 175 835 295
rect 855 175 885 295
rect 905 175 935 295
rect 955 175 1595 295
rect 1615 175 1630 295
rect -80 165 1630 175
rect 75 140 735 150
rect 75 120 85 140
rect 145 120 665 140
rect 725 120 735 140
rect 75 110 735 120
rect 975 140 1540 150
rect 975 120 985 140
rect 1045 130 1485 140
rect 1045 120 1055 130
rect 975 110 1055 120
rect 1475 120 1485 130
rect 1505 120 1540 140
rect 1475 110 1540 120
rect 1120 65 1200 75
rect 1120 55 1130 65
rect -80 45 1130 55
rect 1190 45 1200 65
rect -80 35 1200 45
rect 1515 50 1540 110
rect 1515 40 1595 50
rect 1280 30 1360 40
rect 1280 20 1290 30
rect -80 10 1290 20
rect 1350 10 1360 30
rect -80 0 1360 10
rect 1410 30 1450 40
rect 1410 10 1420 30
rect 1440 10 1450 30
rect 1515 20 1525 40
rect 1585 20 1595 40
rect 1515 10 1595 20
rect 1410 0 1450 10
rect 1415 -25 1430 0
rect 1280 -40 1430 -25
rect 1280 -65 1295 -40
rect -80 -75 1185 -65
rect -80 -195 -45 -75
rect -25 -195 285 -75
rect 305 -195 505 -75
rect 525 -120 720 -75
rect 750 -120 835 -75
rect 525 -195 835 -120
rect 855 -195 885 -75
rect 905 -195 935 -75
rect 955 -145 1185 -75
rect 1255 -75 1295 -65
rect 1255 -120 1265 -75
rect 1285 -120 1295 -75
rect 1255 -130 1295 -120
rect 1365 -75 1630 -65
rect 1365 -145 1595 -75
rect 955 -195 1595 -145
rect 1615 -195 1630 -75
rect -80 -205 1630 -195
rect 1645 -220 1665 325
rect 1685 295 2025 305
rect 1685 175 1695 295
rect 1715 215 2025 295
rect 2095 295 2135 325
rect 2095 250 2105 295
rect 2125 250 2135 295
rect 2095 240 2135 250
rect 2205 295 2245 360
rect 2205 250 2215 295
rect 2235 250 2245 295
rect 2205 240 2245 250
rect 2505 295 2545 400
rect 2505 215 2515 295
rect 1715 175 2515 215
rect 2535 175 2545 295
rect 1685 165 2545 175
rect 1685 -75 2545 -65
rect 1685 -195 1695 -75
rect 1715 -115 2515 -75
rect 1715 -195 2025 -115
rect 1685 -205 2025 -195
rect 2095 -150 2135 -140
rect 2095 -195 2105 -150
rect 2125 -195 2135 -150
rect 2095 -220 2135 -195
rect 2205 -195 2515 -115
rect 2535 -195 2545 -75
rect 2205 -205 2545 -195
rect 185 -235 625 -225
rect 185 -255 195 -235
rect 255 -255 555 -235
rect 615 -255 625 -235
rect 185 -265 625 -255
rect 1460 -235 2135 -220
rect 1460 -325 1475 -235
rect 1395 -335 1475 -325
rect 1395 -355 1405 -335
rect 1465 -355 1475 -335
rect 1395 -365 1475 -355
rect -55 -390 -15 -380
rect -55 -510 -45 -390
rect -25 -460 -15 -390
rect 55 -390 755 -380
rect 55 -435 60 -390
rect 90 -435 285 -390
rect 305 -435 505 -390
rect 525 -435 725 -390
rect 745 -435 755 -390
rect 55 -445 755 -435
rect 825 -390 1795 -380
rect 825 -460 835 -390
rect -25 -510 835 -460
rect 855 -510 1275 -390
rect 1295 -510 1495 -390
rect 1515 -510 1715 -390
rect 1735 -400 2430 -390
rect 1735 -420 1850 -400
rect 2420 -420 2430 -400
rect 1735 -430 2430 -420
rect 1735 -510 1795 -430
rect -55 -520 1795 -510
<< via1 >>
rect 720 475 725 520
rect 725 475 745 520
rect 745 475 750 520
rect 60 175 90 220
rect 720 -120 750 -75
rect 60 -435 65 -390
rect 65 -435 85 -390
rect 85 -435 90 -390
<< metal2 >>
rect 715 520 755 530
rect 715 475 720 520
rect 750 475 755 520
rect 55 220 95 230
rect 55 175 60 220
rect 90 175 95 220
rect 55 -390 95 175
rect 715 -75 755 475
rect 715 -120 720 -75
rect 750 -120 755 -75
rect 715 -130 755 -120
rect 55 -435 60 -390
rect 90 -435 95 -390
rect 55 -445 95 -435
<< labels >>
rlabel metal1 -80 235 -80 235 7 VP
port 0 w
rlabel metal1 -80 -135 -80 -135 7 VN
port 1 w
rlabel metal1 -80 45 -80 45 7 V1
port 2 w
rlabel metal1 -80 10 -80 10 7 V2
port 3 w
rlabel locali 2585 80 2585 80 3 Vout
port 4 e
rlabel locali 2585 -375 2585 -375 3 nVout
port 5 e
<< end >>
